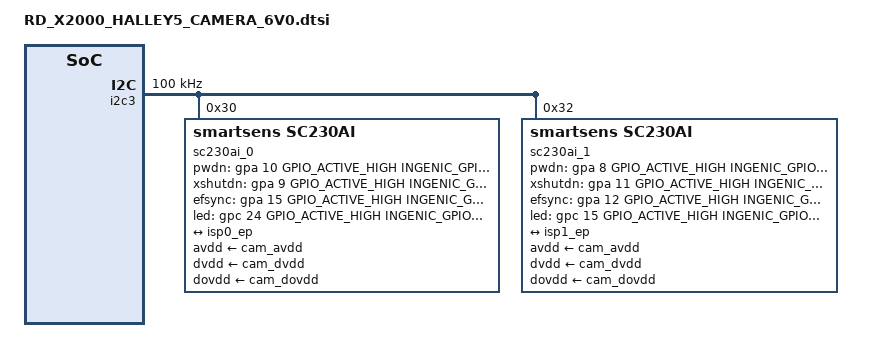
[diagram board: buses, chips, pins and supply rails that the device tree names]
&i2c3 {
	status = "okay";
	clock-frequency = <100000>;
	timeout = <1000>;
	pinctrl-names = "default";
	pinctrl-0 = <&i2c3_pa>, <&cim_vic_mclk_pe>;

	/* RD_X2000_HALLEY5_CAMERA_V6.0 */
	sc230ai_0:sc230ai@30 {
		status = "ok";
		compatible = "smartsens,sc230ai";
		reg = <0x30>;

		avdd-supply = <&cam_avdd>;
		dvdd-supply = <&cam_dvdd>;
		dovdd-supply = <&cam_dovdd>;
		ingenic,pwdn-gpio = <&gpa 10 GPIO_ACTIVE_HIGH INGENIC_GPIO_NOBIAS>;
		ingenic,xshutdn-gpio = <&gpa 9 GPIO_ACTIVE_HIGH INGENIC_GPIO_NOBIAS>;
		ingenic,efsync-gpio = <&gpa 15 GPIO_ACTIVE_HIGH INGENIC_GPIO_NOBIAS>;
		ingenic,led-gpio = <&gpc 24 GPIO_ACTIVE_HIGH INGENIC_GPIO_NOBIAS>;

		port {
			sc230ai_ep0:endpoint {
				remote-endpoint = <&isp0_ep>;
			};
		};
	};

	sc230ai_1:sc230ai@32 {
		status = "ok";
		compatible = "smartsens,sc230ai";
		reg = <0x32>;

		avdd-supply = <&cam_avdd>;
		dvdd-supply = <&cam_dvdd>;
		dovdd-supply = <&cam_dovdd>;
		ingenic,pwdn-gpio = <&gpa 8 GPIO_ACTIVE_HIGH INGENIC_GPIO_NOBIAS>;
		ingenic,xshutdn-gpio = <&gpa 11 GPIO_ACTIVE_HIGH INGENIC_GPIO_NOBIAS>;
		ingenic,efsync-gpio = <&gpa 12 GPIO_ACTIVE_HIGH INGENIC_GPIO_NOBIAS>;
		ingenic,led-gpio = <&gpc 15 GPIO_ACTIVE_HIGH INGENIC_GPIO_NOBIAS>;

		port {
			sc230ai_ep1:endpoint {
				remote-endpoint = <&isp1_ep>;
			};
		};
	};
};

&isp0_ep {
	remote-endpoint = <&sc230ai_ep0>;
	data-lanes = <0 1>;
	clk-lanes = <2>;
};

&isp1_ep {
	remote-endpoint = <&sc230ai_ep1>;
	data-lanes = <3 4>;
	clk-lanes = <5>;
};


